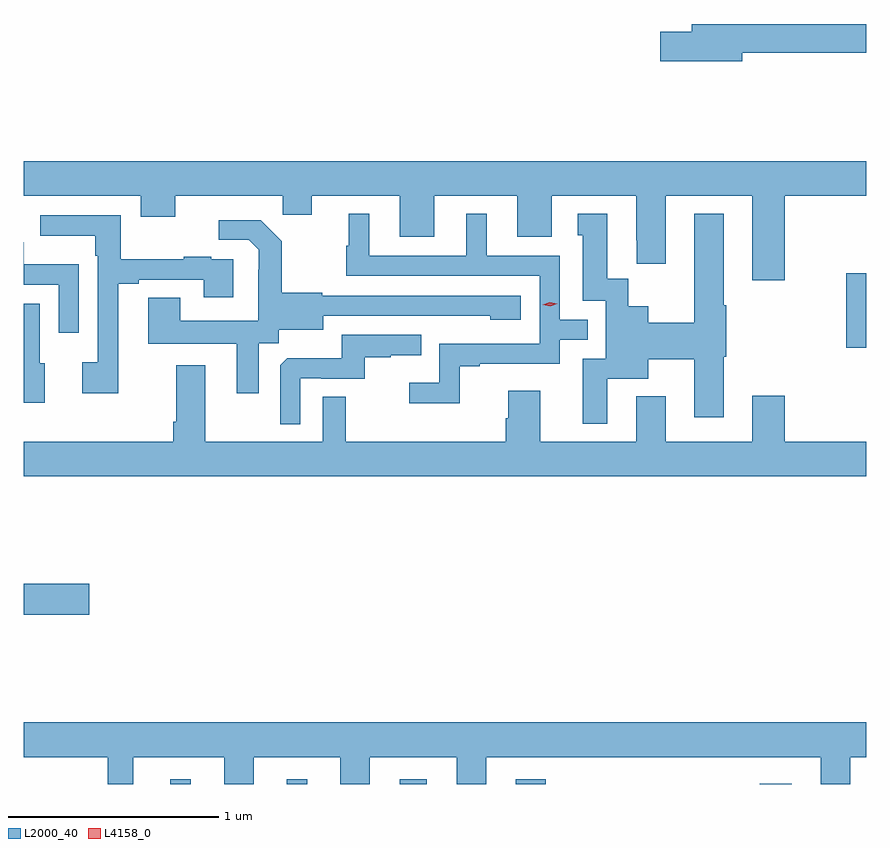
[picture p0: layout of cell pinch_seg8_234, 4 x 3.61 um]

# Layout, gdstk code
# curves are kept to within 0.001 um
import gdstk
lib = gdstk.Library(unit=1e-6, precision=1e-09)
def R(c, l, rs):  # rectangles x0, y0, x1, y1
    for r in rs: c.add(gdstk.rectangle(r[:2], r[2:], *l))
def P(c, l, *ps):  # polygons
    for p in ps: c.add(gdstk.Polygon(p, *l))
L2000_40 = (2000, 40)
L4158_0 = (4158, 0)

pinch_seg8_234 = lib.new_cell('pinch_seg8_234')
R(pinch_seg8_234, L2000_40, [(625.214,1111.044,625.312,1111.066), (625.766,1111.044,625.864,1111.066), (626.303,1111.044,626.431,1111.066), (626.855,1111.044,626.996,1111.066), (628.013,1111.044,628.165,1111.045), (624.518,1111.847,624.829,1111.994), (628.424,1113.116,628.518,1113.469)])
P(pinch_seg8_234, L2000_40, [(627.928,1114.516),(628.518,1114.516),(628.518,1114.652),(627.689,1114.652),(627.689,1114.616),(627.54,1114.616),(627.54,1114.474),(627.928,1114.474)],
  [(628.13,1113.836),(628.518,1113.836),(628.518,1114),(624.518,1114),(624.518,1113.836),(625.073,1113.836),(625.073,1113.737),(625.237,1113.737),(625.237,1113.836),(625.747,1113.836),(625.747,1113.746),(625.885,1113.746),(625.885,1113.836),(626.303,1113.836),(626.303,1113.642),(626.467,1113.642),(626.467,1113.836),(626.861,1113.836),(626.861,1113.642),(627.025,1113.642),(627.025,1113.836),(627.425,1113.836),(627.425,1113.625),(627.428,1113.625),(627.428,1113.513),(627.565,1113.513),(627.565,1113.836),(627.977,1113.836),(627.977,1113.435),(628.13,1113.435)],
  [(627.289,1112.969),(627.484,1112.969),(627.484,1113.061),(627.701,1113.061),(627.701,1112.784),(627.841,1112.784),(627.841,1113.072),(627.854,1113.072),(627.854,1113.316),(627.841,1113.316),(627.841,1113.751),(627.701,1113.751),(627.701,1113.233),(627.484,1113.233),(627.484,1113.313),(627.387,1113.313),(627.387,1113.443),(627.289,1113.443),(627.289,1113.751),(627.149,1113.751),(627.149,1113.648),(627.173,1113.648),(627.173,1113.339),(627.282,1113.339),(627.282,1113.063),(627.173,1113.063),(627.173,1112.754),(627.289,1112.754)],
  [(626.589,1113.027),(626.683,1113.027),(626.683,1113.039),(627.063,1113.039),(627.063,1113.153),(627.196,1113.153),(627.196,1113.249),(627.063,1113.249),(627.063,1113.552),(626.716,1113.552),(626.716,1113.751),(626.618,1113.751),(626.618,1113.552),(626.158,1113.552),(626.158,1113.751),(626.06,1113.751),(626.06,1113.6),(626.049,1113.6),(626.049,1113.456),(626.967,1113.456),(626.967,1113.135),(626.49,1113.135),(626.49,1112.95),(626.349,1112.95),(626.349,1112.852),(626.589,1112.852)],
  [(624.967,1113.42),(625.063,1113.42),(625.063,1113.438),(625.373,1113.438),(625.373,1113.354),(625.513,1113.354),(625.513,1113.534),(625.409,1113.534),(625.409,1113.547),(625.277,1113.547),(625.277,1113.536),(624.979,1113.536),(624.979,1113.744),(624.597,1113.744),(624.597,1113.647),(624.858,1113.647),(624.858,1113.551),(624.87,1113.551),(624.87,1113.046),(624.795,1113.046),(624.795,1112.898),(624.967,1112.898)],
  [(625.633,1113.136),(625.728,1113.136),(625.728,1113.2),(625.939,1113.2),(625.939,1113.267),(626.733,1113.266),(626.733,1113.248),(626.878,1113.248),(626.878,1113.363),(625.935,1113.363),(625.935,1113.376),(625.743,1113.376),(625.743,1113.621),(625.643,1113.721),(625.443,1113.721),(625.443,1113.627),(625.587,1113.627),(625.634,1113.58),(625.634,1113.485),(625.632,1113.485),(625.632,1113.244),(625.261,1113.244),(625.261,1113.353),(625.109,1113.353),(625.109,1113.134),(625.529,1113.134),(625.529,1112.898),(625.633,1112.898)],
  [(624.78,1113.511),(624.519,1113.511),(624.519,1113.614),(624.518,1113.615),(624.518,1113.414),(624.684,1113.414),(624.684,1113.186),(624.78,1113.186)],
  [(624.619,1113.042),(624.594,1113.042),(624.594,1113.324),(624.518,1113.324),(624.518,1112.855),(624.619,1112.855)],
  [(625.83,1112.97),(625.93,1112.97),(625.93,1112.967),(626.138,1112.967),(626.138,1113.069),(626.261,1113.069),(626.261,1113.08),(626.405,1113.08),(626.405,1113.177),(626.028,1113.177),(626.028,1113.065),(625.769,1113.065),(625.737,1113.033),(625.737,1112.753),(625.83,1112.753)],
  [(628.518,1112.668),(628.13,1112.668),(628.13,1112.887),(627.977,1112.887),(627.977,1112.668),(627.565,1112.668),(627.565,1112.884),(627.425,1112.884),(627.425,1112.668),(626.971,1112.668),(626.971,1112.911),(626.819,1112.911),(626.819,1112.781),(626.807,1112.781),(626.807,1112.668),(626.047,1112.668),(626.047,1112.882),(625.938,1112.882),(625.938,1112.668),(625.381,1112.668),(625.381,1113.031),(625.241,1113.031),(625.241,1112.764),(625.229,1112.764),(625.229,1112.668),(624.518,1112.668),(624.518,1112.504),(628.518,1112.504)],
  [(625.039,1111.172),(625.469,1111.172),(625.469,1111.044),(625.609,1111.044),(625.609,1111.172),(626.021,1111.172),(626.021,1111.044),(626.161,1111.044),(626.161,1111.172),(626.573,1111.172),(626.573,1111.044),(626.713,1111.044),(626.713,1111.172),(628.301,1111.172),(628.301,1111.044),(628.441,1111.044),(628.441,1111.172),(628.518,1111.172),(628.518,1111.336),(624.518,1111.336),(624.518,1111.172),(624.918,1111.172),(624.918,1111.044),(625.039,1111.044)])
P(pinch_seg8_234, L4158_0, [(627.018,1113.312),(626.983,1113.32),(626.982,1113.32),(626.983,1113.32),(627.016,1113.332),(627.051,1113.324),(627.052,1113.324),(627.051,1113.324)])

lib.write_gds('pinch_seg8_234.gds')
